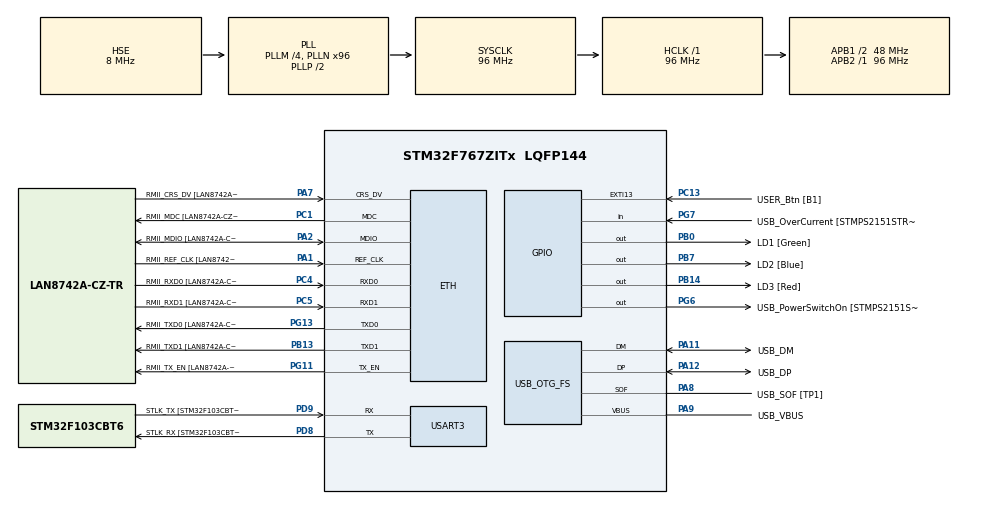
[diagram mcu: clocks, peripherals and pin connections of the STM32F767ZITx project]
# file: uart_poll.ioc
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ETH.MediaInterface=HAL_ETH_RMII_MODE
ETH.PHY_Name=LAN8742A_PHY_ADDRESS
ETH.PHY_Value=0
ETH.PhyAddress=0
Mcu.Family=STM32F7
Mcu.Name=STM32F767ZITx
Mcu.Package=LQFP144
NVIC.PriorityGroup=NVIC_PRIORITYGROUP_4
NVIC.USART3_IRQn=true\:0\:0\:false\:false\:true\:true\:true\:true
PA1.GPIO_Label=RMII_REF_CLK [LAN8742A-CZ-TR_REFCLK0]
PA1.Mode=RMII
PA1.Signal=ETH_REF_CLK
PA10.GPIO_Label=USB_ID
PA10.Signal=USB_OTG_FS_ID
PA11.GPIO_Label=USB_DM
PA11.Mode=Device_Only
PA11.Signal=USB_OTG_FS_DM
PA12.GPIO_Label=USB_DP
PA12.Mode=Device_Only
PA12.Signal=USB_OTG_FS_DP
PA13.GPIO_Label=TMS
PA13.Mode=Serial_Wire
PA13.Signal=SYS_JTMS-SWDIO
PA14.GPIO_Label=TCK
PA14.Mode=Serial_Wire
PA14.Signal=SYS_JTCK-SWCLK
PA2.GPIO_Label=RMII_MDIO [LAN8742A-CZ-TR_MDIO]
PA2.Mode=RMII
PA2.Signal=ETH_MDIO
PA7.GPIO_Label=RMII_CRS_DV [LAN8742A-CZ-TR_CRS_DV]
PA7.Mode=RMII
PA7.Signal=ETH_CRS_DV
PA8.GPIO_Label=USB_SOF [TP1]
PA8.Mode=Activate_SOF_FS
PA8.Signal=USB_OTG_FS_SOF
PA9.GPIO_Label=USB_VBUS
PA9.Mode=Activate_VBUS
PA9.Signal=USB_OTG_FS_VBUS
PB0.GPIO_Label=LD1 [Green]
PB0.Signal=GPIO_Output
PB13.GPIO_Label=RMII_TXD1 [LAN8742A-CZ-TR_TXD1]
PB13.Mode=RMII
PB13.Signal=ETH_TXD1
PB14.GPIO_Label=LD3 [Red]
PB14.Signal=GPIO_Output
PB3.GPIO_Label=SWO
PB3.Signal=SYS_JTDO-SWO
PB7.GPIO_Label=LD2 [Blue]
PB7.Signal=GPIO_Output
PC1.GPIO_Label=RMII_MDC [LAN8742A-CZ-TR_MDC]
PC1.Mode=RMII
PC1.Signal=ETH_MDC
PC13.GPIO_Label=USER_Btn [B1]
PC13.Signal=GPXTI13
PC14/OSC32_IN.Mode=LSE-External-Oscillator
PC14/OSC32_IN.Signal=RCC_OSC32_IN
PC15/OSC32_OUT.Mode=LSE-External-Oscillator
PC15/OSC32_OUT.Signal=RCC_OSC32_OUT
PC4.GPIO_Label=RMII_RXD0 [LAN8742A-CZ-TR_RXD0]
PC4.Mode=RMII
PC4.Signal=ETH_RXD0
PC5.GPIO_Label=RMII_RXD1 [LAN8742A-CZ-TR_RXD1]
PC5.Mode=RMII
PC5.Signal=ETH_RXD1
PD8.GPIO_Label=STLK_RX [STM32F103CBT6_PA3]
PD8.Mode=Asynchronous
PD8.Signal=USART3_TX
PD9.GPIO_Label=STLK_TX [STM32F103CBT6_PA2]
PD9.Mode=Asynchronous
PD9.Signal=USART3_RX
PG11.GPIO_Label=RMII_TX_EN [LAN8742A-CZ-TR_TXEN]
PG11.Mode=RMII
PG11.Signal=ETH_TX_EN
PG13.GPIO_Label=RMII_TXD0 [LAN8742A-CZ-TR_TXD0]
PG13.Mode=RMII
PG13.Signal=ETH_TXD0
PG6.GPIO_Label=USB_PowerSwitchOn [STMPS2151STR_EN]
PG6.Signal=GPIO_Output
PG7.GPIO_Label=USB_OverCurrent [STMPS2151STR_FAULT]
PG7.Signal=GPIO_Input
PH0/OSC_IN.GPIO_Label=MCO [STM32F103CBT6_PA8]
PH0/OSC_IN.Mode=HSE-External-Clock-Source
PH0/OSC_IN.Signal=RCC_OSC_IN
PH1/OSC_OUT.Mode=HSE-External-Clock-Source
PH1/OSC_OUT.Signal=RCC_OSC_OUT
ProjectManager.HeapSize=0x200
ProjectManager.StackSize=0x400
ProjectManager.TargetToolchain=STM32CubeIDE
RCC.48MHZClocksFreq_Value=24000000
RCC.AHBFreq_Value=96000000
RCC.APB1CLKDivider=RCC_HCLK_DIV2
RCC.APB1Freq_Value=48000000
RCC.APB1TimFreq_Value=96000000
RCC.APB2Freq_Value=96000000
RCC.APB2TimFreq_Value=96000000
RCC.CortexFreq_Value=96000000
RCC.HCLKFreq_Value=96000000
RCC.HSE_VALUE=8000000
RCC.HSI_VALUE=16000000
RCC.PLLM=4
RCC.PLLMUL=RCC_PLL_MUL9
RCC.PLLN=96
RCC.PLLQ=4
RCC.PRESCALERUSB=RCC_USBCLKSOURCE_PLL_DIV1_5
RCC.SYSCLKFreq_VALUE=96000000
RCC.SYSCLKSource=RCC_SYSCLKSOURCE_PLLCLK
RCC.SYSCLKSourceVirtual=RCC_SYSCLKSOURCE_PLLCLK
RCC.USBFreq_Value=48000000
RCC.VCOOutputFreq_Value=192000000
USART3.VirtualMode-Asynchronous=VM_ASYNC
USB_OTG_FS.VirtualMode=Device_Only
board=NUCLEO-F767ZI

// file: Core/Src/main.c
/* USER CODE BEGIN Header */
/**
  ******************************************************************************
  * @file           : main.c
  * @brief          : Main program body
  ******************************************************************************
  * @attention
  *
  * Copyright (c) 2025 STMicroelectronics.
  * All rights reserved.
  *
  * This software is licensed under terms that can be found in the LICENSE file
  * in the root directory of this software component.
  * If no LICENSE file comes with this software, it is provided AS-IS.
  *
  ******************************************************************************
  */
/* USER CODE END Header */
#include "main.h"
#include "string.h"

/* USER CODE BEGIN PTD */
#define RECIVE_BUFFER_SIZE 128
typedef struct
{
	uint8_t symbol[RECIVE_BUFFER_SIZE];
	uint8_t pos;

}buffer;

/* USER CODE END PTD */

#if defined ( __ICCARM__ ) /*!< IAR Compiler */
#pragma location=0x2007c000
ETH_DMADescTypeDef  DMARxDscrTab[ETH_RX_DESC_CNT]; /* Ethernet Rx DMA Descriptors */
#pragma location=0x2007c0a0
ETH_DMADescTypeDef  DMATxDscrTab[ETH_TX_DESC_CNT]; /* Ethernet Tx DMA Descriptors */

#elif defined ( __CC_ARM )  /* MDK ARM Compiler */

__attribute__((at(0x2007c000))) ETH_DMADescTypeDef  DMARxDscrTab[ETH_RX_DESC_CNT]; /* Ethernet Rx DMA Descriptors */
__attribute__((at(0x2007c0a0))) ETH_DMADescTypeDef  DMATxDscrTab[ETH_TX_DESC_CNT]; /* Ethernet Tx DMA Descriptors */

#elif defined ( __GNUC__ ) /* GNU Compiler */

ETH_DMADescTypeDef DMARxDscrTab[ETH_RX_DESC_CNT] __attribute__((section(".RxDecripSection"))); /* Ethernet Rx DMA Descriptors */
ETH_DMADescTypeDef DMATxDscrTab[ETH_TX_DESC_CNT] __attribute__((section(".TxDecripSection")));   /* Ethernet Tx DMA Descriptors */
#endif

ETH_TxPacketConfig TxConfig;

ETH_HandleTypeDef heth;

UART_HandleTypeDef huart3;

PCD_HandleTypeDef hpcd_USB_OTG_FS;

/* USER CODE BEGIN PV */
buffer buf;

/* USER CODE END PV */

void SystemClock_Config(void);
static void MX_GPIO_Init(void);
static void MX_ETH_Init(void);
static void MX_USART3_UART_Init(void);
static void MX_USB_OTG_FS_PCD_Init(void);

/* USER CODE BEGIN 0 */
 void HAL_UART_RxCpltCallback(UART_HandleTypeDef *huart)
 {
	 if (huart == &huart3)
	 {
		 if (buf.pos >= RECIVE_BUFFER_SIZE)
		 {
			 buf.pos = 0;
		 }
		 buf.pos++;
		 HAL_UART_Receive_IT(&huart3, buf.symbol + buf.pos, 1);
	 }
 }

 void HAL_UART_TxCpltCallback(UART_HandleTypeDef *huart)
 {
	 if (huart == &huart3)
	 {
	 }
 }

/* USER CODE END 0 */

int main(void)
{

  /* MCU Configuration--------------------------------------------------------*/

  /* Reset of all peripherals, Initializes the Flash interface and the Systick. */
  HAL_Init();

  /* Configure the system clock */
  SystemClock_Config();

  /* Initialize all configured peripherals */
  MX_GPIO_Init();
  MX_ETH_Init();
  MX_USART3_UART_Init();
  MX_USB_OTG_FS_PCD_Init();
  /* USER CODE BEGIN 2 */
  memset(&buf, 0, sizeof(buf));
  HAL_UART_Receive_IT(&huart3, buf.symbol, 1);
  const char* msg = "Ok\r";

  /* USER CODE END 2 */
  /* Infinite loop */
  /* USER CODE BEGIN WHILE */
  while (1)
  {
	  /* Режим непрерывного опроса */
	  //HAL_UART_Receive(&huart3, symbol, 5, HAL_MAX_DELAY);
	  //HAL_UART_Transmit(&huart3, symbol, 5, HAL_MAX_DELAY);
    /* USER CODE END WHILE */
	  if (buf.symbol[buf.pos - 1] == '\r') // ждем символ новой строки
	  {
		  HAL_UART_Transmit_IT(&huart3, (uint8_t*)msg, strlen(msg));
		  memset(buf.symbol, 0, sizeof(buf.symbol)); //очистка буффера
	  }
  }
}

void SystemClock_Config(void)
{
  RCC_OscInitTypeDef RCC_OscInitStruct = {0};
  RCC_ClkInitTypeDef RCC_ClkInitStruct = {0};

  /** Configure LSE Drive Capability
  */
  HAL_PWR_EnableBkUpAccess();

  /** Configure the main internal regulator output voltage
  */
  __HAL_RCC_PWR_CLK_ENABLE();
  __HAL_PWR_VOLTAGESCALING_CONFIG(PWR_REGULATOR_VOLTAGE_SCALE3);

  /** Initializes the RCC Oscillators according to the specified parameters
  * in the RCC_OscInitTypeDef structure.
  */
  RCC_OscInitStruct.OscillatorType = RCC_OSCILLATORTYPE_HSE;
  RCC_OscInitStruct.HSEState = RCC_HSE_BYPASS;
  RCC_OscInitStruct.PLL.PLLState = RCC_PLL_ON;
  RCC_OscInitStruct.PLL.PLLSource = RCC_PLLSOURCE_HSE;
  RCC_OscInitStruct.PLL.PLLM = 4;
  RCC_OscInitStruct.PLL.PLLN = 96;
  RCC_OscInitStruct.PLL.PLLP = RCC_PLLP_DIV2;
  RCC_OscInitStruct.PLL.PLLQ = 4;
  RCC_OscInitStruct.PLL.PLLR = 2;
  if (HAL_RCC_OscConfig(&RCC_OscInitStruct) != HAL_OK)
  {
    Error_Handler();
  }

  /** Activate the Over-Drive mode
  */
  if (HAL_PWREx_EnableOverDrive() != HAL_OK)
  {
    Error_Handler();
  }

  /** Initializes the CPU, AHB and APB buses clocks
  */
  RCC_ClkInitStruct.ClockType = RCC_CLOCKTYPE_HCLK|RCC_CLOCKTYPE_SYSCLK
                              |RCC_CLOCKTYPE_PCLK1|RCC_CLOCKTYPE_PCLK2;
  RCC_ClkInitStruct.SYSCLKSource = RCC_SYSCLKSOURCE_PLLCLK;
  RCC_ClkInitStruct.AHBCLKDivider = RCC_SYSCLK_DIV1;
  RCC_ClkInitStruct.APB1CLKDivider = RCC_HCLK_DIV2;
  RCC_ClkInitStruct.APB2CLKDivider = RCC_HCLK_DIV1;

  if (HAL_RCC_ClockConfig(&RCC_ClkInitStruct, FLASH_LATENCY_3) != HAL_OK)
  {
    Error_Handler();
  }
}

static void MX_ETH_Init(void)
{

   static uint8_t MACAddr[6];

  heth.Instance = ETH;
  MACAddr[0] = 0x00;
  MACAddr[1] = 0x80;
  MACAddr[2] = 0xE1;
  MACAddr[3] = 0x00;
  MACAddr[4] = 0x00;
  MACAddr[5] = 0x00;
  heth.Init.MACAddr = &MACAddr[0];
  heth.Init.MediaInterface = HAL_ETH_RMII_MODE;
  heth.Init.TxDesc = DMATxDscrTab;
  heth.Init.RxDesc = DMARxDscrTab;
  heth.Init.RxBuffLen = 1524;

  if (HAL_ETH_Init(&heth) != HAL_OK)
  {
    Error_Handler();
  }

  memset(&TxConfig, 0 , sizeof(ETH_TxPacketConfig));
  TxConfig.Attributes = ETH_TX_PACKETS_FEATURES_CSUM | ETH_TX_PACKETS_FEATURES_CRCPAD;
  TxConfig.ChecksumCtrl = ETH_CHECKSUM_IPHDR_PAYLOAD_INSERT_PHDR_CALC;
  TxConfig.CRCPadCtrl = ETH_CRC_PAD_INSERT;

}

static void MX_USART3_UART_Init(void)
{

  huart3.Instance = USART3;
  huart3.Init.BaudRate = 115200;
  huart3.Init.WordLength = UART_WORDLENGTH_8B;
  huart3.Init.StopBits = UART_STOPBITS_1;
  huart3.Init.Parity = UART_PARITY_NONE;
  huart3.Init.Mode = UART_MODE_TX_RX;
  huart3.Init.HwFlowCtl = UART_HWCONTROL_NONE;
  huart3.Init.OverSampling = UART_OVERSAMPLING_16;
  huart3.Init.OneBitSampling = UART_ONE_BIT_SAMPLE_DISABLE;
  huart3.AdvancedInit.AdvFeatureInit = UART_ADVFEATURE_NO_INIT;
  if (HAL_UART_Init(&huart3) != HAL_OK)
  {
    Error_Handler();
  }

}

static void MX_USB_OTG_FS_PCD_Init(void)
{

  hpcd_USB_OTG_FS.Instance = USB_OTG_FS;
  hpcd_USB_OTG_FS.Init.dev_endpoints = 6;
  hpcd_USB_OTG_FS.Init.speed = PCD_SPEED_FULL;
  hpcd_USB_OTG_FS.Init.dma_enable = DISABLE;
  hpcd_USB_OTG_FS.Init.phy_itface = PCD_PHY_EMBEDDED;
  hpcd_USB_OTG_FS.Init.Sof_enable = ENABLE;
  hpcd_USB_OTG_FS.Init.low_power_enable = DISABLE;
  hpcd_USB_OTG_FS.Init.lpm_enable = DISABLE;
  hpcd_USB_OTG_FS.Init.vbus_sensing_enable = ENABLE;
  hpcd_USB_OTG_FS.Init.use_dedicated_ep1 = DISABLE;
  if (HAL_PCD_Init(&hpcd_USB_OTG_FS) != HAL_OK)
  {
    Error_Handler();
  }

}

static void MX_GPIO_Init(void)
{
  GPIO_InitTypeDef GPIO_InitStruct = {0};

  /* GPIO Ports Clock Enable */
  __HAL_RCC_GPIOC_CLK_ENABLE();
  __HAL_RCC_GPIOH_CLK_ENABLE();
  __HAL_RCC_GPIOA_CLK_ENABLE();
  __HAL_RCC_GPIOB_CLK_ENABLE();
  __HAL_RCC_GPIOD_CLK_ENABLE();
  __HAL_RCC_GPIOG_CLK_ENABLE();

  /*Configure GPIO pin Output Level */
  HAL_GPIO_WritePin(GPIOB, LD1_Pin|LD3_Pin|LD2_Pin, GPIO_PIN_RESET);

  /*Configure GPIO pin Output Level */
  HAL_GPIO_WritePin(USB_PowerSwitchOn_GPIO_Port, USB_PowerSwitchOn_Pin, GPIO_PIN_RESET);

  /*Configure GPIO pin : USER_Btn_Pin */
  GPIO_InitStruct.Pin = USER_Btn_Pin;
  GPIO_InitStruct.Mode = GPIO_MODE_IT_RISING;
  GPIO_InitStruct.Pull = GPIO_NOPULL;
  HAL_GPIO_Init(USER_Btn_GPIO_Port, &GPIO_InitStruct);

  /*Configure GPIO pins : LD1_Pin LD3_Pin LD2_Pin */
  GPIO_InitStruct.Pin = LD1_Pin|LD3_Pin|LD2_Pin;
  GPIO_InitStruct.Mode = GPIO_MODE_OUTPUT_PP;
  GPIO_InitStruct.Pull = GPIO_NOPULL;
  GPIO_InitStruct.Speed = GPIO_SPEED_FREQ_LOW;
  HAL_GPIO_Init(GPIOB, &GPIO_InitStruct);

  /*Configure GPIO pin : USB_PowerSwitchOn_Pin */
  GPIO_InitStruct.Pin = USB_PowerSwitchOn_Pin;
  GPIO_InitStruct.Mode = GPIO_MODE_OUTPUT_PP;
  GPIO_InitStruct.Pull = GPIO_NOPULL;
  GPIO_InitStruct.Speed = GPIO_SPEED_FREQ_LOW;
  HAL_GPIO_Init(USB_PowerSwitchOn_GPIO_Port, &GPIO_InitStruct);

  /*Configure GPIO pin : USB_OverCurrent_Pin */
  GPIO_InitStruct.Pin = USB_OverCurrent_Pin;
  GPIO_InitStruct.Mode = GPIO_MODE_INPUT;
  GPIO_InitStruct.Pull = GPIO_NOPULL;
  HAL_GPIO_Init(USB_OverCurrent_GPIO_Port, &GPIO_InitStruct);

}

void Error_Handler(void)
{
  __disable_irq();
  while (1)
  {
  }
}
